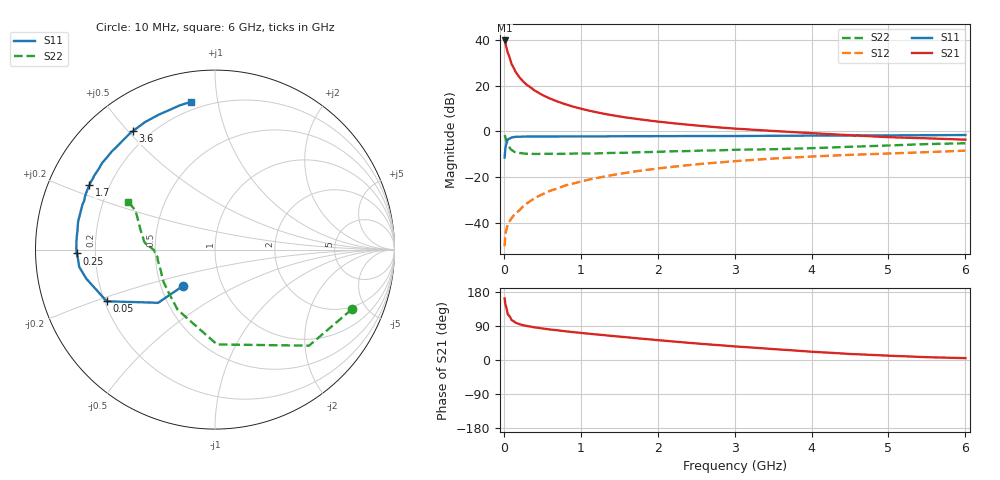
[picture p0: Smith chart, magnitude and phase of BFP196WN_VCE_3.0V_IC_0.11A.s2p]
! (c) 2017  Infineon Technologies AG, Munich
! Infineon Technologies  Discrete & RF Semiconductors
! BFP196WN
! VCE =  3.0 V,  IC = 0.11 A
! Common Emitter S-Parameters:  Jan 2017
# GHz  S  MA  R  50
!  f  S11  S21  S12  S22
! GHz  MAG  ANG  MAG  ANG  MAG  ANG  MAG  ANG
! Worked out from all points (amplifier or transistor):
!   77 points, 10 MHz to 6 GHz, reference 50 ohm
!   highest |S21| = 39.8 dB at 10 MHz (marker M1)
!   |S21| within 3 dB of that: start of sweep to 33.15 MHz
!   unconditionally stable (mu >= 1): 390.5 MHz to 2.68 GHz
!   at 130 MHz: K = 0.77, MSG = 32.1 dB, |S12| = -36.7 dB
!   at 2.2 GHz: K = 1.02, MAG = 8.6 dB, |S12| = -15.4 dB
!   at 6 GHz: K = 0.93, MSG = 2.4 dB, |S12| = -8.4 dB
!   S11 on the Smith chart (normalised r, x): 10 MHz: 0.65, -0.28; 50 MHz: 0.21, -0.22; 250 MHz: 0.13, -0.01; 1.7 GHz: 0.13, +0.24; 3.6 GHz: 0.14, +0.52; 6 GHz: 0.15, +0.84
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0.01  0.2677 -131.3  97.38 162.6  0.0031 77.2  0.8316 -23.6
0.02  0.4339 -136.9  84.06 146.7  0.0057 69.3  0.749 -45.6
0.05  0.6688 -154.5  53.3 120.6  0.0091 53.8  0.5284 -88.8
0.1  0.7352 -167.3  29.67 105.3  0.0126 55.0  0.395 -121.7
0.15  0.7626 -172.7  20.41 98.7  0.0161 59.9  0.3503 -138.3
0.2  0.7651 -176.1  15.42 94.7  0.0187 62.9  0.3387 -147.8
0.25  0.7706 -178.4  12.39 91.9  0.023 65.4  0.3303 -153.3
0.3  0.7726 179.7  10.37 89.7  0.0267 68.3  0.3247 -158.2
0.4  0.7735 176.8  7.823 86.0  0.0345 71.7  0.3223 -163.4
0.5  0.7735 174.2  6.258 83.2  0.0421 71.9  0.3232 -167.0
0.6  0.7734 172.1  5.229 80.5  0.0502 72.8  0.3244 -169.9
0.7  0.7761 170.2  4.479 78.3  0.0569 73.8  0.3225 -171.7
0.9  0.7775 166.2  3.483 73.6  0.0725 72.9  0.3271 -174.2
1.1  0.7786 162.9  2.865 69.5  0.0881 71.9  0.3294 -176.5
1.4  0.7822 157.8  2.276 63.6  0.1105 69.9  0.3389 -178.8
1.7  0.7865 152.9  1.902 58.0  0.1331 67.7  0.3484 179.6
2.1  0.7884 147.0  1.575 50.7  0.162 64.3  0.3629 177.6
3.1  0.7939 132.0  1.126 34.6  0.2295 55.1  0.399 173.0
3.6  0.8032 124.7  1.001 27.5  0.2604 50.6  0.4123 169.0
4.1  0.8105 117.7  0.898 20.7  0.2873 46.0  0.436 163.6
5.1  0.8199 107.0  0.74 10.6  0.3333 38.0  0.4996 153.6
6  0.8342 99.2  0.66 4.9  0.3799 31.8  0.5508 151.4
